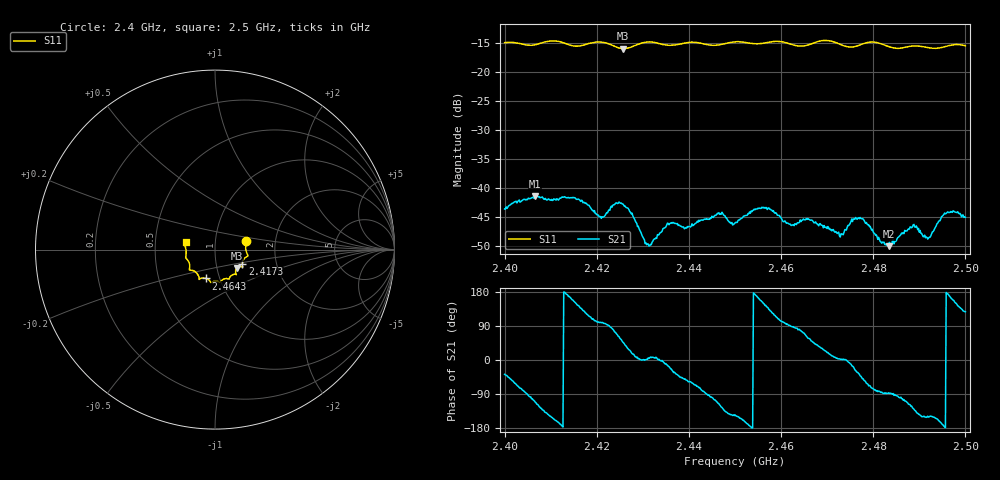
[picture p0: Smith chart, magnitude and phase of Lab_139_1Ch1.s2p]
# Hz S RI R 50
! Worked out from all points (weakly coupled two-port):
!   601 points, 2.4 GHz to 2.5 GHz, reference 50 ohm
!   highest |S21| = -41.43 dB at 2.4067 GHz (marker M1); lowest = -50.0 dB at 2.4833 GHz (marker M2)
!   lowest |S11| = -15.9 dB at 2.4257 GHz (marker M3), VSWR 1.38, Z = 62.5 - j13.2 ohm
!   |S11| at or under -10 dB: start of sweep to end of sweep
!   S12 and S22 are empty: the file has one direction only
!   S11 on the Smith chart (normalised r, x): 2.4 GHz: 1.41, +0.14; 2.4173 GHz: 1.34, -0.23; 2.4643 GHz: 0.86, -0.29; 2.5 GHz: 0.72, +0.06
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2.4e9  0.1734 0.049  0.00521 -0.00403  0 0  0 0
2.406667e9  0.1727 -0.00633  -0.00311 -0.0079  0 0  0 0
2.416667e9  0.153 -0.0741  -0.00564 0.00543  0 0  0 0
2.417333e9  0.1521 -0.0817  -0.00465 0.00588  0 0  0 0
2.421e9  0.1541 -0.0972  -0.000784 0.00541  0 0  0 0
2.425667e9  0.1228 -0.1026  0.00496 0.00534  0 0  0 0
2.431e9  0.119 -0.1387  0.00329 8.44e-05  0 0  0 0
2.433333e9  0.1129 -0.1373  0.00393 5.43e-05  0 0  0 0
2.435667e9  0.0967 -0.1411  0.0046 -0.00144  0 0  0 0
2.446667e9  0.0426 -0.1675  -0.00282 -0.00521  0 0  0 0
2.45e9  0.0289 -0.1812  -0.00409 -0.00287  0 0  0 0
2.456333e9  -0.00936 -0.1784  -0.00568 0.00357  0 0  0 0
2.461833e9  -0.0292 -0.1739  -0.00014 0.00488  0 0  0 0
2.464333e9  -0.0496 -0.1608  0.00117 0.00499  0 0  0 0
2.466667e9  -0.0758 -0.1594  0.00342 0.00404  0 0  0 0
2.473167e9  -0.0924 -0.1452  0.00401 0.000154  0 0  0 0
2.477333e9  -0.1296 -0.1153  0.00398 -0.00371  0 0  0 0
2.483333e9  -0.1405 -0.0898  0.000184 -0.00314  0 0  0 0
2.4885e9  -0.1615 -0.0477  -0.00269 -0.00373  0 0  0 0
2.492e9  -0.1608 -0.0258  -0.00323 -0.00181  0 0  0 0
2.495833e9  -0.1666 0.018  -0.00603 0.000191  0 0  0 0
2.5e9  -0.1639 0.0429  -0.00339 0.00444  0 0  0 0
